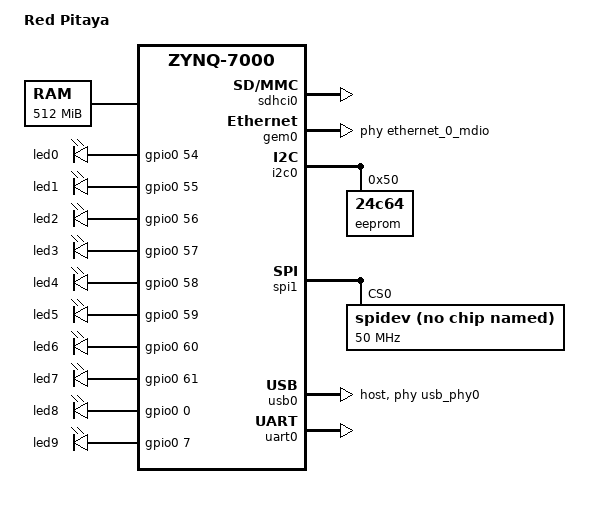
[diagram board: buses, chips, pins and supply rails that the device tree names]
/dts-v1/;
/include/ "zynq-7000.dtsi"

/ {
    model = "Red Pitaya";
    compatible = "xlnx,zynq-7000";

    aliases {
    		ethernet0 = &gem0;
    		serial0 = &uart0;
    };

    memory {
    		device_type = "memory";
    		reg = <0x0 0x20000000>;
    };

    chosen {
		bootargs = "console=ttyPS0,115200 root=/dev/ram rw earlyprintk";
		stdout-path = &uart0;
    };

    gpio-leds {
		compatible = "gpio-leds";
		led-0-yellow {
			label = "led0";
			gpios = <&gpio0 54 0>;
			default-state = "off";
		};
		led-1-yellow {
			label = "led1";
			gpios = <&gpio0 55 0>;
			default-state = "off";
		};
		led-2-yellow {
			label = "led2";
			gpios = <&gpio0 56 0>;
			default-state = "off";
		};
		led-3-yellow {
			label = "led3";
			gpios = <&gpio0 57 0>;
			default-state = "off";
		};
		led-4-yellow {
			label = "led4";
			gpios = <&gpio0 58 0>;
			default-state = "off";
		};
		led-5-yellow {
			label = "led5";
			gpios = <&gpio0 59 0>;
			default-state = "off";
		};
		led-6-yellow {
			label = "led6";
			gpios = <&gpio0 60 0>;
			default-state = "off";
		};
		led-7-yellow {
			label = "led7";
			gpios = <&gpio0 61 0>;
			default-state = "off";
		};
        led-8-yellow {
			label = "led8";
			gpios = <&gpio0 0 0>;
			default-state = "off";
			linux,default-trigger = "mmc0";
		};
		led-9-red {
			label = "led9";
			gpios = <&gpio0 7 0>;
			default-state = "off";
			linux,default-trigger = "heartbeat";
		};
    };

    usb_phy0: phy0 {
		compatible = "ulpi-phy";
		#phy-cells = <0>;
		reg = <0xe0002000 0x1000>;
		view-port = <0x0170>;
		drv-vbus;
	};
};

&clkc {
	ps-clk-frequency = <33333333>;
};

&sdhci0 {
	status = "okay";
};

&gem0 {
    phy-handle = <&ethernet_0_mdio>;
    status = "okay";

	ethernet_0_mdio: ethernet_0_mdio@1 {
		reg = <1>;
    };
};

&i2c0 {
    status = "okay";
	eeprom@50 {
		compatible = "24c64";
		reg = <0x50>;
		pagesize = <32>;
	};
};

&spi1 {
	spidev@0 {
		compatible = "spidev";
		reg = <0>; //chipselect 0
		spi-max-frequency = <50000000>;
	};
};

&usb0 {
    dr_mode = "host";
	usb-phy = <&usb_phy0>;
    status = "okay";
};

&uart0 {
    status = "okay";
};
